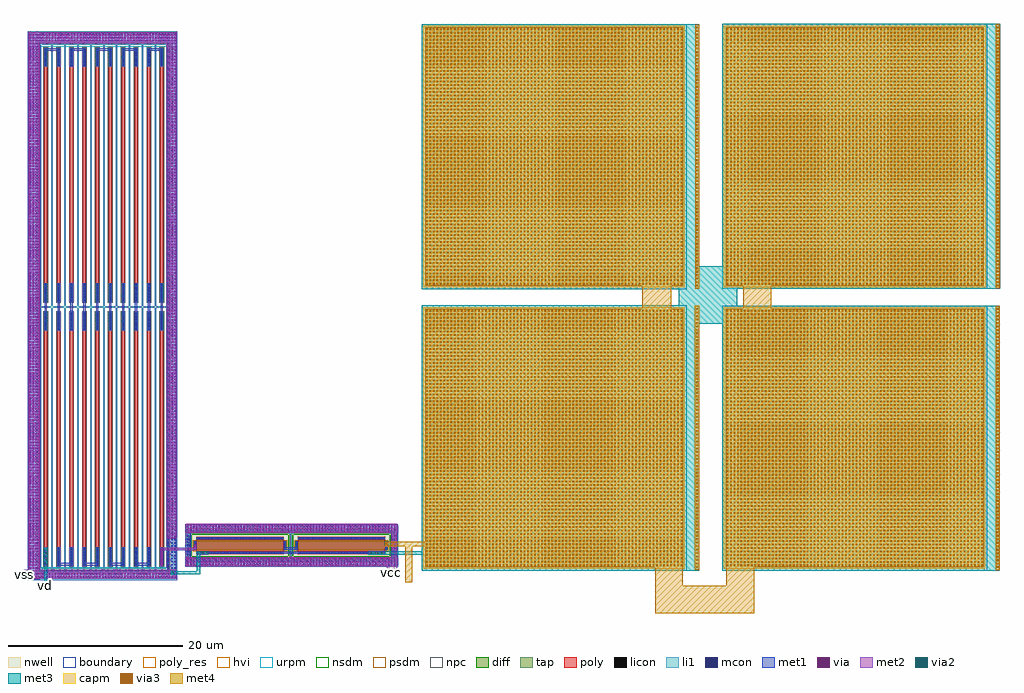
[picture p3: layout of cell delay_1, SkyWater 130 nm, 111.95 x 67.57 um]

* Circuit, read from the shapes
.subckt delay_1 vcc vd vd_n vss
XM1 n1 vss n2 vcc sky130_fd_pr__pfet_g5v0d10v5 w=1 l=10
XM2 vd_n vss n1 vcc sky130_fd_pr__pfet_g5v0d10v5 w=1 l=10
XC3 vd_n vss sky130_fd_pr__cap_mim_m3_1 w=30 l=30 m=4
XR4 n3 vd vss sky130_fd_pr__res_xhigh_po w=0.35 l=24.88
XR5 n4 n3 vss sky130_fd_pr__res_xhigh_po w=0.35 l=24.88
XR6 n5 n6 vss sky130_fd_pr__res_xhigh_po w=0.35 l=24.88
XR7 n4 n5 vss sky130_fd_pr__res_xhigh_po w=0.35 l=24.88
XR8 n7 n6 vss sky130_fd_pr__res_xhigh_po w=0.35 l=24.88
XR9 n8 n7 vss sky130_fd_pr__res_xhigh_po w=0.35 l=24.88
XR10 n9 n10 vss sky130_fd_pr__res_xhigh_po w=0.35 l=24.88
XR11 n8 n9 vss sky130_fd_pr__res_xhigh_po w=0.35 l=24.88
XR12 n11 n10 vss sky130_fd_pr__res_xhigh_po w=0.35 l=24.88
XR13 n12 n11 vss sky130_fd_pr__res_xhigh_po w=0.35 l=24.88
XR14 n13 n14 vss sky130_fd_pr__res_xhigh_po w=0.35 l=24.88
XR15 n12 n13 vss sky130_fd_pr__res_xhigh_po w=0.35 l=24.88
XR16 n15 n14 vss sky130_fd_pr__res_xhigh_po w=0.35 l=24.88
XR17 n16 n15 vss sky130_fd_pr__res_xhigh_po w=0.35 l=24.88
XR18 n17 n18 vss sky130_fd_pr__res_xhigh_po w=0.35 l=24.88
XR19 n16 n17 vss sky130_fd_pr__res_xhigh_po w=0.35 l=24.88
XR20 n19 n18 vss sky130_fd_pr__res_xhigh_po w=0.35 l=24.88
XR21 n20 n19 vss sky130_fd_pr__res_xhigh_po w=0.35 l=24.88
XR22 n21 n2 vss sky130_fd_pr__res_xhigh_po w=0.35 l=24.88
XR23 n20 n21 vss sky130_fd_pr__res_xhigh_po w=0.35 l=24.88
.ends

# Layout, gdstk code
import gdstk
lib = gdstk.Library(unit=1e-6, precision=1e-09)
def R(c, l, rs):  # rectangles x0, y0, x1, y1
    for r in rs: c.add(gdstk.rectangle(r[:2], r[2:], *l))
def A(c, l, x, y, w, h, nx, ny, dx, dy):  # array of equal rectangles
    R(c, l, [(x+i*dx, y+j*dy, x+i*dx+w, y+j*dy+h) for i in range(nx) for j in range(ny)])
nwell = (64, 20)
diff = (65, 20)
tap = (65, 44)
poly_res = (66, 13)
poly = (66, 20)
licon = (66, 44)
li1 = (67, 20)
mcon = (67, 44)
met1 = (68, 20)
via = (68, 44)
met2 = (69, 20)
via2 = (69, 44)
met3 = (70, 20)
via3 = (70, 44)
met4 = (71, 20)
hvi = (75, 20)
urpm = (79, 20)
capm = (89, 44)
nsdm = (93, 44)
psdm = (94, 20)
npc = (95, 20)
boundary = (235, 4)

sky130_fd_pr__res_xhigh_ = lib.new_cell('sky130_fd_pr__res_xhigh_po_0p35_GQJ9L7')
R(sky130_fd_pr__res_xhigh_, tap, [(-0.825,-15.23,0.825,-15.06), (-0.825,-15.06,-0.655,15.06), (0.655,-15.06,0.825,15.06), (-0.825,15.06,0.825,15.23)])
R(sky130_fd_pr__res_xhigh_, poly_res, [(-0.175,-12.5,0.175,12.5)])
R(sky130_fd_pr__res_xhigh_, poly, [(-0.175,-14.58,0.175,14.58)])
A(sky130_fd_pr__res_xhigh_, licon, -0.825, -14.705, 0.17, 0.17, 1, 87, 0, 0.34)
A(sky130_fd_pr__res_xhigh_, licon, 0.655, -14.705, 0.17, 0.17, 1, 87, 0, 0.34)
R(sky130_fd_pr__res_xhigh_, licon, [(-0.255,-15.23,-0.085,-15.06), (0.085,-15.23,0.255,-15.06), (-0.095,-14.5,0.095,-12.5), (-0.095,12.5,0.095,14.5), (-0.255,15.06,-0.085,15.23), (0.085,15.06,0.255,15.23)])
R(sky130_fd_pr__res_xhigh_, li1, [(-0.825,-15.23,0.825,-15.06), (-0.825,-15.06,-0.655,15.06), (0.655,-15.06,0.825,15.06), (-0.175,-14.58,0.175,-12.42), (-0.175,12.42,0.175,14.58), (-0.825,15.06,0.825,15.23)])
A(sky130_fd_pr__res_xhigh_, mcon, -0.085, -14.485, 0.17, 0.17, 1, 6, 0, 0.36)
A(sky130_fd_pr__res_xhigh_, mcon, -0.085, 12.51, 0.17, 0.17, 1, 6, 0, 0.36)
R(sky130_fd_pr__res_xhigh_, met1, [(-0.125,-14.55,0.125,-12.445), (-0.125,12.445,0.125,14.55)])
R(sky130_fd_pr__res_xhigh_, urpm, [(-0.635,-14.78,0.635,14.78)])
R(sky130_fd_pr__res_xhigh_, psdm, [(-0.95,-15.355,0.95,15.355)])
R(sky130_fd_pr__res_xhigh_, npc, [(-0.27,-14.675,0.27,14.675)])
R(sky130_fd_pr__res_xhigh_, boundary, [(-0.74,-15.145,0.74,15.145)])

sky130_fd_pr__pfet_g5v0d = lib.new_cell('sky130_fd_pr__pfet_g5v0d10v5_DAGJJV')
R(sky130_fd_pr__pfet_g5v0d, nwell, [(-6.29,-1.985,6.29,1.985)])
R(sky130_fd_pr__pfet_g5v0d, diff, [(-5.29,-0.5,5.29,0.5)])
R(sky130_fd_pr__pfet_g5v0d, tap, [(-5.96,-1.655,5.96,-1.365), (-5.96,-1.365,-5.67,1.365), (5.67,-1.365,5.96,1.365), (-5.96,1.365,5.96,1.655)])
R(sky130_fd_pr__pfet_g5v0d, poly, [(-5,-0.985,5,0.985)])
A(sky130_fd_pr__pfet_g5v0d, licon, -5.355, -1.595, 0.17, 0.17, 32, 2, 0.34, 3.02)
A(sky130_fd_pr__pfet_g5v0d, licon, -5.9, -1.105, 0.17, 0.17, 1, 7, 0, 0.34)
A(sky130_fd_pr__pfet_g5v0d, licon, 5.73, -1.105, 0.17, 0.17, 1, 7, 0, 0.34)
A(sky130_fd_pr__pfet_g5v0d, licon, -4.845, -0.905, 0.17, 0.17, 29, 2, 0.34, 1.64)
A(sky130_fd_pr__pfet_g5v0d, licon, -5.23, -0.425, 0.17, 0.17, 1, 3, 0, 0.34)
A(sky130_fd_pr__pfet_g5v0d, licon, 5.06, -0.425, 0.17, 0.17, 1, 3, 0, 0.34)
R(sky130_fd_pr__pfet_g5v0d, li1, [(-5.9,-1.595,5.9,-1.425), (-5.9,-1.425,-5.73,1.425), (5.73,-1.425,5.9,1.425), (-5,-0.905,5,-0.735), (-5.23,-0.52,-5.06,0.52), (5.06,-0.52,5.23,0.52), (-5,0.735,5,0.905), (-5.9,1.425,5.9,1.595)])
A(sky130_fd_pr__pfet_g5v0d, mcon, -4.765, -0.905, 0.17, 0.17, 27, 2, 0.36, 1.64)
R(sky130_fd_pr__pfet_g5v0d, mcon, [(-5.23,-0.265,-5.06,-0.095), (5.06,-0.265,5.23,-0.095), (-5.23,0.095,-5.06,0.265), (5.06,0.095,5.23,0.265)])
R(sky130_fd_pr__pfet_g5v0d, met1, [(-4.98,-0.935,4.98,-0.705), (-5.26,-0.5,-5.03,0.5), (5.03,-0.5,5.26,0.5), (-4.98,0.705,4.98,0.935)])
R(sky130_fd_pr__pfet_g5v0d, hvi, [(-6.29,-1.985,6.29,1.985)])
R(sky130_fd_pr__pfet_g5v0d, nsdm, [(-6.085,-1.78,6.085,-1.24), (-6.085,-1.24,-5.545,1.24), (5.545,-1.24,6.085,1.24), (-6.085,1.24,6.085,1.78)])
R(sky130_fd_pr__pfet_g5v0d, psdm, [(-5.415,-0.625,5.415,0.625)])
R(sky130_fd_pr__pfet_g5v0d, npc, [(-4.945,-1.005,4.945,-0.635), (-4.945,0.635,4.945,1.005)])
R(sky130_fd_pr__pfet_g5v0d, boundary, [(-5.815,-1.51,5.815,1.51)])

sky130_fd_pr__cap_mim_m3 = lib.new_cell('sky130_fd_pr__cap_mim_m3_1_VNZUKL')
R(sky130_fd_pr__cap_mim_m3, met3, [(-15.93,-15.2,15.93,15.2)])
A(sky130_fd_pr__cap_mim_m3, via3, 15.57, -14.9, 0.2, 0.2, 1, 75, 0, 0.4)
A(sky130_fd_pr__cap_mim_m3, via3, -15.43, -14.7, 0.2, 0.2, 74, 74, 0.4, 0.4)
R(sky130_fd_pr__cap_mim_m3, met4, [(15.43,-15.14,15.91,15.14), (-15.535,-14.805,14.075,14.805)])
R(sky130_fd_pr__cap_mim_m3, capm, [(-15.73,-15,14.27,15)])
R(sky130_fd_pr__cap_mim_m3, boundary, [(-15.93,-15.2,14.47,15.2)])

delay_1 = lib.new_cell('delay_1')
R(delay_1, li1, [(180.15,-1.715,197.33,-0.385), (180.15,-0.385,181.705,59.7), (196.075,-0.385,197.33,59.7), (198.235,-0.18,222.645,0.88), (198.235,0.88,198.925,3.635), (221.865,0.88,222.645,3.635), (198.235,3.635,222.645,4.565), (198.285,4.565,222.54,4.66), (180.15,59.7,197.33,61.245), (180.15,61.245,197.095,61.255)])
A(delay_1, mcon, 180.41, -1.49, 0.17, 0.17, 47, 2, 0.36, 0.36)
A(delay_1, mcon, 180.41, -0.77, 0.17, 0.17, 3, 169, 0.36, 0.36)
A(delay_1, mcon, 196.25, -0.77, 0.17, 0.17, 3, 169, 0.36, 0.36)
A(delay_1, mcon, 198.435, 0.035, 0.17, 0.17, 67, 2, 0.36, 0.36)
A(delay_1, mcon, 198.435, 0.755, 0.17, 0.17, 1, 9, 0, 0.36)
A(delay_1, mcon, 222.195, 0.755, 0.17, 0.17, 1, 9, 0, 0.36)
A(delay_1, mcon, 198.435, 3.995, 0.17, 0.17, 67, 2, 0.36, 0.36)
A(delay_1, mcon, 180.41, 60.07, 0.17, 0.17, 47, 3, 0.36, 0.36)
R(delay_1, met1, [(180.25,-1.6,181.56,-1.595), (180.25,-1.595,197.26,-1.54), (180.22,-1.54,197.26,-0.605), (180.24,-0.605,197.26,-0.6), (180.24,-0.6,181.615,59.85), (196.16,-0.6,197.23,3.145), (198.22,-0.13,222.595,0.855), (183.815,-0.085,185.1,0.24), (186.755,-0.085,188.04,0.24), (189.73,-0.085,191.015,0.24), (192.685,-0.085,193.97,0.24), (181.995,-0.025,182.455,1.975), (195.37,-0.025,195.73,1.96), (198.235,0.855,198.87,3.705), (221.87,0.855,222.545,3.705), (219.22,1.21,221.12,1.575), (199.55,1.255,200.915,1.54), (209.345,1.3,211.545,1.53), (209.58,1.735,211.09,2.065), (199.195,1.795,199.555,2.295), (221.085,2.175,221.505,2.675), (196.09,3.145,197.25,59.85), (198.225,3.705,222.6,4.69), (182.105,28.9,182.355,30.32), (193.945,28.93,194.195,30.35), (186.545,28.935,186.795,30.355), (183.585,28.94,183.835,30.36), (190.985,28.945,191.235,30.365), (185.065,28.965,185.315,30.385), (188.025,28.965,188.275,30.385), (189.505,28.965,189.755,30.385), (192.465,28.97,192.715,30.39), (195.425,28.99,195.675,30.41), (182.27,58.98,183.675,59.305), (185.26,58.98,186.665,59.305), (188.255,58.98,189.66,59.305), (191.225,58.98,192.63,59.305), (194.075,58.98,195.48,59.305), (180.24,59.85,197.33,61.035), (180.25,61.035,197.33,61.065), (180.25,61.065,181.56,61.09)])
A(delay_1, via, 180.375, -1.37, 0.15, 0.15, 52, 2, 0.32, 0.32)
A(delay_1, via, 180.375, -0.73, 0.15, 0.15, 4, 190, 0.32, 0.32)
A(delay_1, via, 198.49, -0.035, 0.15, 0.15, 75, 3, 0.32, 0.32)
A(delay_1, via, 195.475, 0.09, 0.15, 0.15, 1, 6, 0, 0.32)
A(delay_1, via, 182.15, 0.1, 0.15, 0.15, 1, 6, 0, 0.32)
A(delay_1, via, 222.13, 1.085, 0.15, 0.15, 1, 8, 0, 0.32)
A(delay_1, via, 219.455, 1.315, 0.15, 0.15, 5, 1, 0.32, 0)
A(delay_1, via, 199.675, 1.32, 0.15, 0.15, 4, 1, 0.32, 0)
A(delay_1, via, 196.375, 3.43, 0.15, 0.15, 1, 177, 0, 0.32)
A(delay_1, via, 196.695, 3.43, 0.15, 0.15, 1, 177, 0, 0.32)
A(delay_1, via, 198.495, 3.8, 0.15, 0.15, 75, 3, 0.32, 0.32)
A(delay_1, via, 180.375, 60.07, 0.15, 0.15, 53, 3, 0.32, 0.32)
R(delay_1, via, [(199.3,1.97,199.45,2.12), (221.22,2.35,221.37,2.5)])
R(delay_1, met2, [(179.74,-1.6,180.31,-1.59), (179.74,-1.59,197.2,-0.555), (221.36,-0.92,222.57,-0.15), (180.29,-0.555,181.565,59.83), (198.28,-0.15,222.57,0.185), (182.045,-0.075,182.405,2.025), (195.42,-0.075,195.68,1.71), (198.28,0.185,222.535,0.875), (221.92,0.875,222.495,3.685), (219.27,1.16,221.07,1.625), (199.6,1.205,200.865,1.59), (195.42,1.71,199.505,2.01), (199.245,2.01,199.505,2.345), (221.135,2.125,221.455,2.725), (196.14,3.095,197.2,59.83), (198.285,3.685,222.54,4.71), (180.29,59.83,197.27,61.085)])
A(delay_1, via2, 182.125, 0.075, 0.2, 0.2, 1, 5, 0, 0.4)
A(delay_1, via2, 219.47, 1.29, 0.2, 0.2, 4, 1, 0.4, 0)
A(delay_1, via2, 199.73, 1.295, 0.2, 0.2, 3, 1, 0.4, 0)
R(delay_1, via2, [(196.785,-0.985,196.985,-0.785), (221.195,2.325,221.395,2.525)])
R(delay_1, met3, [(182.045,-2.3,182.405,-0.05), (196.545,-1.1,197.225,-1.075), (196.545,-1.075,199.945,-0.69), (196.545,-0.69,197.225,-0.665), (199.55,-0.69,199.945,1.23), (181.995,-0.05,182.455,2), (219.22,1.185,225.34,1.6), (199.55,1.23,200.915,1.565), (221.085,2.15,221.59,2.705), (254.855,27.695,261.525,29.67), (254.85,29.67,261.525,31.73), (254.855,31.73,261.525,34.28)])
R(delay_1, via3, [(221.195,2.325,221.395,2.525)])
R(delay_1, met4, [(252.165,-5.505,263.475,-2.355), (252.165,-2.355,255.31,-0.23), (260.265,-2.355,263.475,-0.24), (223.465,-1.945,224.255,2.17), (221.13,2.17,225.735,2.68), (262.25,29.37,265.42,32.06), (250.635,29.38,253.95,32.05)])
A(delay_1, urpm, 182.865, -0.315, 0.21, 29.56, 9, 2, 1.48, 30.29)
R(delay_1, urpm, [(181.595,29.245,196.185,29.975)])
delay_1.add(gdstk.Reference(sky130_fd_pr__res_xhigh_, (182.23,14.465)))
delay_1.add(gdstk.Reference(sky130_fd_pr__res_xhigh_, (182.23,44.755)))
delay_1.add(gdstk.Reference(sky130_fd_pr__res_xhigh_, (183.71,44.755)))
delay_1.add(gdstk.Reference(sky130_fd_pr__res_xhigh_, (183.71,14.465)))
delay_1.add(gdstk.Reference(sky130_fd_pr__res_xhigh_, (185.19,14.465)))
delay_1.add(gdstk.Reference(sky130_fd_pr__res_xhigh_, (185.19,44.755)))
delay_1.add(gdstk.Reference(sky130_fd_pr__res_xhigh_, (186.67,44.755)))
delay_1.add(gdstk.Reference(sky130_fd_pr__res_xhigh_, (186.67,14.465)))
delay_1.add(gdstk.Reference(sky130_fd_pr__res_xhigh_, (188.15,14.465)))
delay_1.add(gdstk.Reference(sky130_fd_pr__res_xhigh_, (188.15,44.755)))
delay_1.add(gdstk.Reference(sky130_fd_pr__res_xhigh_, (189.63,14.465)))
delay_1.add(gdstk.Reference(sky130_fd_pr__res_xhigh_, (189.63,44.755)))
delay_1.add(gdstk.Reference(sky130_fd_pr__res_xhigh_, (191.11,44.755)))
delay_1.add(gdstk.Reference(sky130_fd_pr__res_xhigh_, (191.11,14.465)))
delay_1.add(gdstk.Reference(sky130_fd_pr__res_xhigh_, (194.07,44.755)))
delay_1.add(gdstk.Reference(sky130_fd_pr__res_xhigh_, (194.07,14.465)))
delay_1.add(gdstk.Reference(sky130_fd_pr__res_xhigh_, (192.59,14.465)))
delay_1.add(gdstk.Reference(sky130_fd_pr__res_xhigh_, (192.59,44.755)))
delay_1.add(gdstk.Reference(sky130_fd_pr__res_xhigh_, (195.55,44.755)))
delay_1.add(gdstk.Reference(sky130_fd_pr__res_xhigh_, (195.55,14.465)))
delay_1.add(gdstk.Reference(sky130_fd_pr__pfet_g5v0d, (204.52,2.235)))
delay_1.add(gdstk.Reference(sky130_fd_pr__pfet_g5v0d, (216.15,2.235)))
delay_1.add(gdstk.Reference(sky130_fd_pr__cap_mim_m3, (241.27,14.575)))
delay_1.add(gdstk.Reference(sky130_fd_pr__cap_mim_m3, (275.75,14.565)))
delay_1.add(gdstk.Reference(sky130_fd_pr__cap_mim_m3, (241.275,46.855)))
delay_1.add(gdstk.Reference(sky130_fd_pr__cap_mim_m3, (275.755,46.865)))
delay_1.add(gdstk.Label('vcc', (221.925,-0.905), layer=69, texttype=5))
delay_1.add(gdstk.Label('vss', (179.75,-1.115), layer=69, texttype=5))
delay_1.add(gdstk.Label('vd', (182.22,-2.29), layer=70, texttype=5))
delay_1.add(gdstk.Label('vd_n', (223.795,-1.93), layer=71, texttype=5))

lib.write_gds('delay_1.gds')
